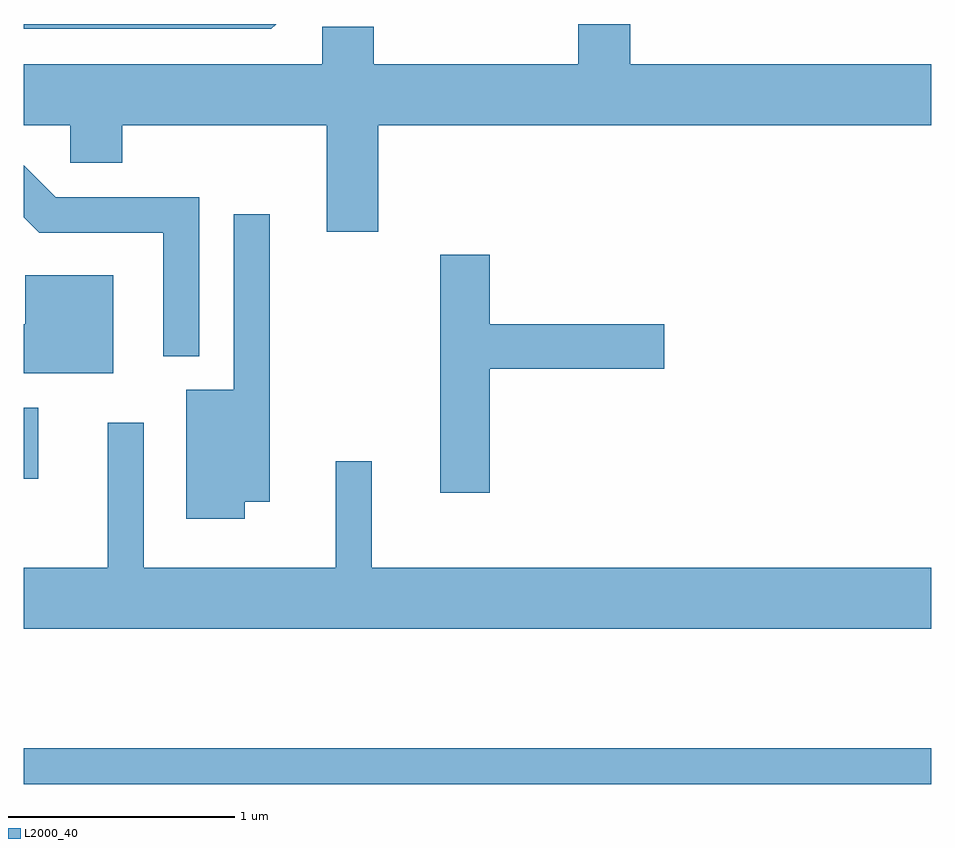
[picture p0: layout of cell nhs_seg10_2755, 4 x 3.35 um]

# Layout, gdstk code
import gdstk
lib = gdstk.Library(unit=1e-6, precision=1e-09)
def R(c, l, rs):  # rectangles x0, y0, x1, y1
    for r in rs: c.add(gdstk.rectangle(r[:2], r[2:], *l))
def P(c, l, *ps):  # polygons
    for p in ps: c.add(gdstk.Polygon(p, *l))
L2000_40 = (2000, 40)

nhs_seg10_2755 = lib.new_cell('nhs_seg10_2755')
R(nhs_seg10_2755, L2000_40, [(265.611,2173.171,269.611,2173.329), (265.611,2174.518,265.674,2174.829)])
P(nhs_seg10_2755, L2000_40, [(267.174,2176.076),(269.611,2176.076),(269.611,2176.344),(268.284,2176.344),(268.284,2176.522),(268.056,2176.522),(268.056,2176.344),(267.154,2176.344),(267.154,2176.509),(266.926,2176.509),(266.926,2176.344),(265.611,2176.344),(265.611,2176.076),(265.816,2176.076),(265.816,2175.911),(266.044,2175.911),(266.044,2176.076),(266.946,2176.076),(266.946,2175.606),(267.174,2175.606)],
  [(266.723,2176.522),(265.611,2176.522),(265.611,2176.501),(266.702,2176.501)],
  [(266.384,2175.759),(265.752,2175.759),(265.611,2175.9),(265.611,2175.669),(265.679,2175.601),(266.226,2175.601),(266.226,2175.058),(266.384,2175.058)],
  [(266.584,2174.416),(266.694,2174.416),(266.694,2175.683),(266.536,2175.683),(266.536,2174.909),(266.326,2174.909),(266.326,2174.341),(266.584,2174.341)],
  [(267.664,2175.001),(268.434,2175.001),(268.434,2175.199),(267.664,2175.199),(267.664,2175.504),(267.446,2175.504),(267.446,2174.456),(267.664,2174.456)],
  [(266.004,2175.414),(265.616,2175.414),(265.616,2175.199),(265.611,2175.199),(265.611,2174.981),(266.004,2174.981)],
  [(269.611,2174.124),(267.144,2174.124),(267.144,2174.593),(266.986,2174.593),(266.986,2174.124),(266.139,2174.124),(266.139,2174.763),(265.981,2174.763),(265.981,2174.124),(265.611,2174.124),(265.611,2173.856),(269.611,2173.856)])

lib.write_gds('nhs_seg10_2755.gds')
